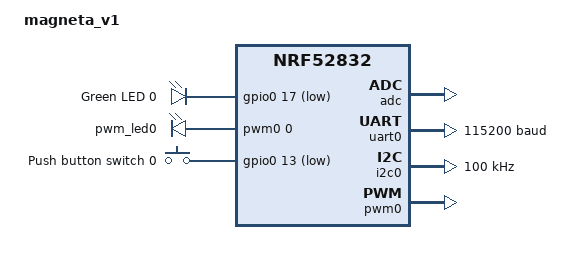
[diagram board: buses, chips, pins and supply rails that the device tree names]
// Copyright (c) 2024 Nordic Semiconductor ASA
// SPDX-License-Identifier: Apache-2.0

/dts-v1/;
#include <nordic/nrf52832_qfaa.dtsi>
#include "magneta_v1-pinctrl.dtsi"

/ {
	model = "magneta_v1";
	compatible = "nordic,magneta-v1";

	chosen {
		zephyr,sram = &sram0;
		zephyr,flash = &flash0;
		zephyr,code-partition = &slot0_partition;
	};

leds {
	compatible = "gpio-leds";
	led0: led_0 {
		gpios = <&gpio0 17 GPIO_ACTIVE_LOW>;
		label = "Green LED 0";
	};
};
pwmleds {
	compatible = "pwm-leds";
	pwm_led0: pwm_led_0 {
		pwms = <&pwm0 0 PWM_MSEC(20) PWM_POLARITY_INVERTED>;
	};
};
buttons {
	compatible = "gpio-keys";
	button0: button_0 {
		gpios = <&gpio0 13 (GPIO_PULL_UP | GPIO_ACTIVE_LOW)>;
		label = "Push button switch 0";
	};
};

 aliases {
	led0 = &led0;
	pwm-led0 = &pwm_led0;
	sw0 = &button0;
	bootloader-led0 = &led0;
	mcuboot-button0 = &button0;
	mcuboot-led0 = &led0;
	watchdog0 = &wdt0;
  };
};

&adc {
	status = "okay";
};

&gpiote {
	status = "okay";
};

&gpio0 {
	status = "okay";
};

&uart0 {
	status = "okay";
	compatible = "nordic,nrf-uarte";
	current-speed = <115200>;
	pinctrl-0 = <&uart0_default>;
	pinctrl-1 = <&uart0_sleep>;
	pinctrl-names = "default", "sleep";
};

&i2c0 {
	compatible = "nordic,nrf-twim";
	status = "okay";
  clock-frequency = <I2C_BITRATE_STANDARD>;
	zephyr,concat-buf-size = <1024>;
	pinctrl-0 = <&i2c0_default>;
	pinctrl-1 = <&i2c0_sleep>;
	pinctrl-names = "default", "sleep";
};

&pwm0 {
	status = "okay";
	pinctrl-0 = <&pwm0_default>;
	pinctrl-1 = <&pwm0_sleep>;
	pinctrl-names = "default", "sleep";
};

&flash0 {
	partitions {
		compatible = "fixed-partitions";
		#address-cells = <1>;
		#size-cells = <1>;

		boot_partition: partition@0 {
			label = "mcuboot";
			reg = <0x0 0xc000>;
		};
		slot0_partition: partition@c000 {
			label = "image-0";
			reg = <0xc000 0x32000>;
		};
		slot1_partition: partition@3e000 {
			label = "image-1";
			reg = <0x3e000 0x32000>;
		};
		scratch_partition: partition@70000 {
			label = "image-scratch";
			reg = <0x70000 0xa000>;
		};
		storage_partition: partition@7a000 {
			label = "storage";
			reg = <0x7a000 0x6000>;
		};
	};
};
